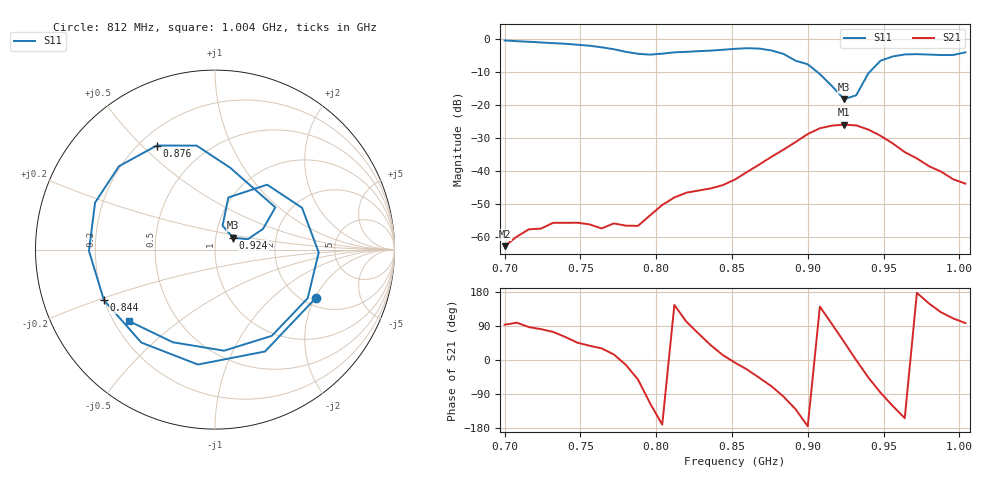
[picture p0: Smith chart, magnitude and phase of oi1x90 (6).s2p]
# Hz S RI R 50
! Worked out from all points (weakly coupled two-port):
!   39 points, 700 MHz to 1.004 GHz, reference 50 ohm
!   highest |S21| = -26.04 dB at 924 MHz (marker M1); lowest = -62.8 dB at 700 MHz (marker M2)
!   lowest |S11| = -18.3 dB at 924 MHz (marker M3), VSWR 1.28, Z = 60.7 + j8.17 ohm
!   |S11| at or under -10 dB: 906.1 MHz to 941 MHz (34.89 MHz wide, 3.78 % of centre)
!   S12 and S22 are empty: the file has one direction only
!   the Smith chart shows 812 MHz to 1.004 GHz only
!   S11 on the Smith chart (normalised r, x): 812 MHz: 2.29, -2.03; 844 MHz: 0.20, -0.21; 876 MHz: 0.27, +0.55; 924 MHz: 1.21, +0.16; 1.004 GHz: 0.26, -0.34
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7e8  0.7576 0.5577  -4.05e-05 0.000721  0 0  0 0
7.24e8  0.8432 -0.243  0.000199 0.00132  0 0  0 0
7.4e8  0.4589 -0.7014  0.000797 0.00142  0 0  0 0
7.56e8  -0.1898 -0.7593  0.00122 0.000943  0 0  0 0
7.72e8  -0.6631 -0.2007  0.00154 0.000408  0 0  0 0
7.8e8  -0.5947 0.2181  0.00144 -0.00033  0 0  0 0
7.88e8  -0.2559 0.5319  0.000912 -0.00115  0 0  0 0
7.96e8  0.2329 0.5245  -0.000881 -0.00192  0 0  0 0
8.04e8  0.564 0.1846  -0.00299 -0.000499  0 0  0 0
8.12e8  0.56 -0.2714  -0.00324 0.00226  0 0  0 0
8.28e8  -0.0951 -0.6404  0.00176 0.00471  0 0  0 0
8.44e8  -0.6189 -0.2815  0.00591 0.00135  0 0  0 0
8.52e8  -0.7023 -0.00721  0.00732 -0.000906  0 0  0 0
8.76e8  -0.3242 0.5798  0.0058 -0.0152  0 0  0 0
9e8  0.3363 0.2352  -0.0359 -0.00319  0 0  0 0
9.08e8  0.2676 0.1154  -0.0342 0.0278  0 0  0 0
9.24e8  0.1014 0.0663  0.0337 0.0368  0 0  0 0
9.4e8  0.0745 0.2903  0.0291 -0.0305  0 0  0 0
9.56e8  0.485 0.2328  -0.0134 -0.0223  0 0  0 0
9.64e8  0.5779 -0.0163  -0.0171 -0.00856  0 0  0 0
9.8e8  0.3162 -0.4807  -0.0101 0.00602  0 0  0 0
1.004e9  -0.4789 -0.3983  -0.000827 0.00633  0 0  0 0
